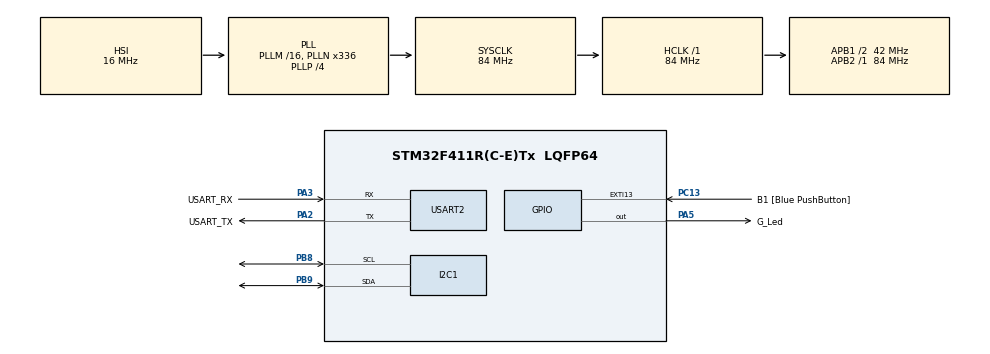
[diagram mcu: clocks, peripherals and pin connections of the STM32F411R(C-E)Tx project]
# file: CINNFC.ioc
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Mcu.Family=STM32F4
Mcu.Name=STM32F411R(C-E)Tx
Mcu.Package=LQFP64
NVIC.PriorityGroup=NVIC_PRIORITYGROUP_0
PA13.GPIO_Label=TMS
PA13.Mode=Serial_Wire
PA13.Signal=SYS_JTMS-SWDIO
PA14.GPIO_Label=TCK
PA14.Mode=Serial_Wire
PA14.Signal=SYS_JTCK-SWCLK
PA2.GPIO_Label=USART_TX
PA2.Mode=Asynchronous
PA2.Signal=USART2_TX
PA3.GPIO_Label=USART_RX
PA3.Mode=Asynchronous
PA3.Signal=USART2_RX
PA5.GPIO_Label=G_Led
PA5.PinState=GPIO_PIN_SET
PA5.Signal=GPIO_Output
PB3.GPIO_Label=SWO
PB3.Signal=SYS_JTDO-SWO
PB8.Mode=I2C
PB8.Signal=I2C1_SCL
PB9.Mode=I2C
PB9.Signal=I2C1_SDA
PC13-ANTI_TAMP.GPIO_Label=B1 [Blue PushButton]
PC13-ANTI_TAMP.GPIO_ModeDefaultEXTI=GPIO_MODE_IT_FALLING
PC13-ANTI_TAMP.Signal=GPXTI13
PC14-OSC32_IN.Mode=LSE-External-Oscillator
PC14-OSC32_IN.Signal=RCC_OSC32_IN
PC15-OSC32_OUT.Mode=LSE-External-Oscillator
PC15-OSC32_OUT.Signal=RCC_OSC32_OUT
PH0\ -\ OSC_IN.Mode=HSE-External-Oscillator
PH0\ -\ OSC_IN.Signal=RCC_OSC_IN
PH1\ -\ OSC_OUT.Mode=HSE-External-Oscillator
PH1\ -\ OSC_OUT.Signal=RCC_OSC_OUT
ProjectManager.HeapSize=0x200
ProjectManager.StackSize=0x400
ProjectManager.TargetToolchain=STM32CubeIDE
RCC.48MHZClocksFreq_Value=84000000
RCC.AHBFreq_Value=84000000
RCC.APB1CLKDivider=RCC_HCLK_DIV2
RCC.APB1Freq_Value=42000000
RCC.APB1TimFreq_Value=84000000
RCC.APB2Freq_Value=84000000
RCC.APB2TimFreq_Value=84000000
RCC.CortexFreq_Value=84000000
RCC.FLatency-AdvancedSettings=FLASH_LATENCY_2
RCC.HCLKFreq_Value=84000000
RCC.HSE_VALUE=8000000
RCC.HSI_VALUE=16000000
RCC.PLLN=336
RCC.PLLP=RCC_PLLP_DIV4
RCC.SYSCLKFreq_VALUE=84000000
RCC.SYSCLKSource=RCC_SYSCLKSOURCE_PLLCLK
RCC.VCOOutputFreq_Value=336000000
USART2.VirtualMode=VM_ASYNC
board=NUCLEO-F411RE

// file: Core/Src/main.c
/* USER CODE BEGIN Header */
/**
  ******************************************************************************
  * @file           : main.c
  * @brief          : Main program body
  ******************************************************************************
  * @attention
  *
  * Copyright (c) 2024 STMicroelectronics.
  * All rights reserved.
  *
  * This software is licensed under terms that can be found in the LICENSE file
  * in the root directory of this software component.
  * If no LICENSE file comes with this software, it is provided AS-IS.
  *
  ******************************************************************************
  */
/* USER CODE END Header */
#include "main.h"
#include "stm32f411rePN532.h"

/* USER CODE BEGIN Includes */
PN532 pn532;
/* USER CODE END Includes */

I2C_HandleTypeDef hi2c1;

UART_HandleTypeDef huart2;

void SystemClock_Config(void);
static void MX_GPIO_Init(void);
static void MX_USART2_UART_Init(void);
static void MX_I2C1_Init(void);

int main(void)
{
  /* USER CODE BEGIN 1 */
  uint8_t buff[255];
  uint8_t uid[MIFARE_UID_MAX_LENGTH];
  int32_t uid_len = 0;
  /* USER CODE END 1 */
  uint8_t indx = 0;
  /* MCU Configuration--------------------------------------------------------*/

  /* Reset of all peripherals, Initializes the Flash interface and the Systick. */
  HAL_Init();

  /* Configure the system clock */
  SystemClock_Config();

  /* Initialize all configured peripherals */
  MX_GPIO_Init();
  MX_USART2_UART_Init();
  MX_I2C1_Init();
  /* USER CODE BEGIN 2 */
	const char* CIN_num = "L898902C<3";
	const char* birth_date = "6908061";     // Format YYMMDD
	const char* expiry_date = "9406236";    // Format YYMMDD
  /* USER CODE END 2 */

  /* Infinite loop */
  /* USER CODE BEGIN WHILE */
  printf("Start \n");

  uint8_t x, y;
  calculate_mac(&x, 1, &y, 1);
  return 0;

  PN532_I2C_Init(&pn532);
  PN532_GetFirmwareVersion(&pn532, buff);
  if (PN532_GetFirmwareVersion(&pn532, buff) == PN532_STATUS_OK) {
     printf("Found PN532 with firmware version: %d.%d\r\n", buff[1], buff[2]);
  }
  else {
     while(1);
  }
  PN532_SamConfiguration(&pn532);
  printf("Waiting for RFID/NFC card...\r\n");
  while (1)
  {
    /* USER CODE END WHILE */
	uid_len = PN532_ReadPassiveTarget(&pn532, uid, PN532_MIFARE_ISO14443A, 1000);
	if (uid_len == PN532_STATUS_ERROR) {
	  	printf("Don't found card \n");
	} else {
		indx = 1;
	    printf("Found card with UID: ");
	    for (uint8_t i = 0; i < uid_len; i++) {
	  	    printf("%02x ", uid[i]);
	    }
	  	printf("\r\n");
	  	   //break;
	}
	if(indx == 1){
		printf("read data ... \n");
		// Tentative de lecture de la carte
		if (read_identity_card(&pn532, CIN_num, birth_date, expiry_date) == 1) {
			printf("lecture reussie !\n");
		} else {
			printf("echec de lecture\n");
		}

		HAL_Delay(1000);
		indx = 0;
	}
  }
}

void SystemClock_Config(void)
{
  RCC_OscInitTypeDef RCC_OscInitStruct = {0};
  RCC_ClkInitTypeDef RCC_ClkInitStruct = {0};

  /** Configure the main internal regulator output voltage
  */
  __HAL_RCC_PWR_CLK_ENABLE();
  __HAL_PWR_VOLTAGESCALING_CONFIG(PWR_REGULATOR_VOLTAGE_SCALE1);

  /** Initializes the RCC Oscillators according to the specified parameters
  * in the RCC_OscInitTypeDef structure.
  */
  RCC_OscInitStruct.OscillatorType = RCC_OSCILLATORTYPE_HSI;
  RCC_OscInitStruct.HSIState = RCC_HSI_ON;
  RCC_OscInitStruct.HSICalibrationValue = RCC_HSICALIBRATION_DEFAULT;
  RCC_OscInitStruct.PLL.PLLState = RCC_PLL_ON;
  RCC_OscInitStruct.PLL.PLLSource = RCC_PLLSOURCE_HSI;
  RCC_OscInitStruct.PLL.PLLM = 16;
  RCC_OscInitStruct.PLL.PLLN = 336;
  RCC_OscInitStruct.PLL.PLLP = RCC_PLLP_DIV4;
  RCC_OscInitStruct.PLL.PLLQ = 4;
  if (HAL_RCC_OscConfig(&RCC_OscInitStruct) != HAL_OK)
  {
    Error_Handler();
  }

  /** Initializes the CPU, AHB and APB buses clocks
  */
  RCC_ClkInitStruct.ClockType = RCC_CLOCKTYPE_HCLK|RCC_CLOCKTYPE_SYSCLK
                              |RCC_CLOCKTYPE_PCLK1|RCC_CLOCKTYPE_PCLK2;
  RCC_ClkInitStruct.SYSCLKSource = RCC_SYSCLKSOURCE_PLLCLK;
  RCC_ClkInitStruct.AHBCLKDivider = RCC_SYSCLK_DIV1;
  RCC_ClkInitStruct.APB1CLKDivider = RCC_HCLK_DIV2;
  RCC_ClkInitStruct.APB2CLKDivider = RCC_HCLK_DIV1;

  if (HAL_RCC_ClockConfig(&RCC_ClkInitStruct, FLASH_LATENCY_2) != HAL_OK)
  {
    Error_Handler();
  }
}

static void MX_I2C1_Init(void)
{

  hi2c1.Instance = I2C1;
  hi2c1.Init.ClockSpeed = 100000;
  hi2c1.Init.DutyCycle = I2C_DUTYCYCLE_2;
  hi2c1.Init.OwnAddress1 = 0;
  hi2c1.Init.AddressingMode = I2C_ADDRESSINGMODE_7BIT;
  hi2c1.Init.DualAddressMode = I2C_DUALADDRESS_DISABLE;
  hi2c1.Init.OwnAddress2 = 0;
  hi2c1.Init.GeneralCallMode = I2C_GENERALCALL_DISABLE;
  hi2c1.Init.NoStretchMode = I2C_NOSTRETCH_DISABLE;
  if (HAL_I2C_Init(&hi2c1) != HAL_OK)
  {
    Error_Handler();
  }

}

static void MX_USART2_UART_Init(void)
{

  huart2.Instance = USART2;
  huart2.Init.BaudRate = 115200;
  huart2.Init.WordLength = UART_WORDLENGTH_8B;
  huart2.Init.StopBits = UART_STOPBITS_1;
  huart2.Init.Parity = UART_PARITY_NONE;
  huart2.Init.Mode = UART_MODE_TX_RX;
  huart2.Init.HwFlowCtl = UART_HWCONTROL_NONE;
  huart2.Init.OverSampling = UART_OVERSAMPLING_16;
  if (HAL_UART_Init(&huart2) != HAL_OK)
  {
    Error_Handler();
  }

}

static void MX_GPIO_Init(void)
{
  GPIO_InitTypeDef GPIO_InitStruct = {0};

  /* GPIO Ports Clock Enable */
  __HAL_RCC_GPIOC_CLK_ENABLE();
  __HAL_RCC_GPIOH_CLK_ENABLE();
  __HAL_RCC_GPIOA_CLK_ENABLE();
  __HAL_RCC_GPIOB_CLK_ENABLE();

  /*Configure GPIO pin Output Level */
  HAL_GPIO_WritePin(G_Led_GPIO_Port, G_Led_Pin, GPIO_PIN_SET);

  /*Configure GPIO pin : B1_Pin */
  GPIO_InitStruct.Pin = B1_Pin;
  GPIO_InitStruct.Mode = GPIO_MODE_IT_FALLING;
  GPIO_InitStruct.Pull = GPIO_NOPULL;
  HAL_GPIO_Init(B1_GPIO_Port, &GPIO_InitStruct);

  /*Configure GPIO pin : G_Led_Pin */
  GPIO_InitStruct.Pin = G_Led_Pin;
  GPIO_InitStruct.Mode = GPIO_MODE_OUTPUT_PP;
  GPIO_InitStruct.Pull = GPIO_NOPULL;
  GPIO_InitStruct.Speed = GPIO_SPEED_FREQ_LOW;
  HAL_GPIO_Init(G_Led_GPIO_Port, &GPIO_InitStruct);

}

/* USER CODE BEGIN 4 */
int _write(int file, char *ptr, int len)
{
  (void)file;
  int DataIdx;

  for (DataIdx = 0; DataIdx < len; DataIdx++)
  {
    //__io_putchar(*ptr++);
	ITM_SendChar((*ptr++));
  }
  return len;
}
/* USER CODE END 4 */

void Error_Handler(void)
{
  __disable_irq();
  while (1)
  {
  }
}
